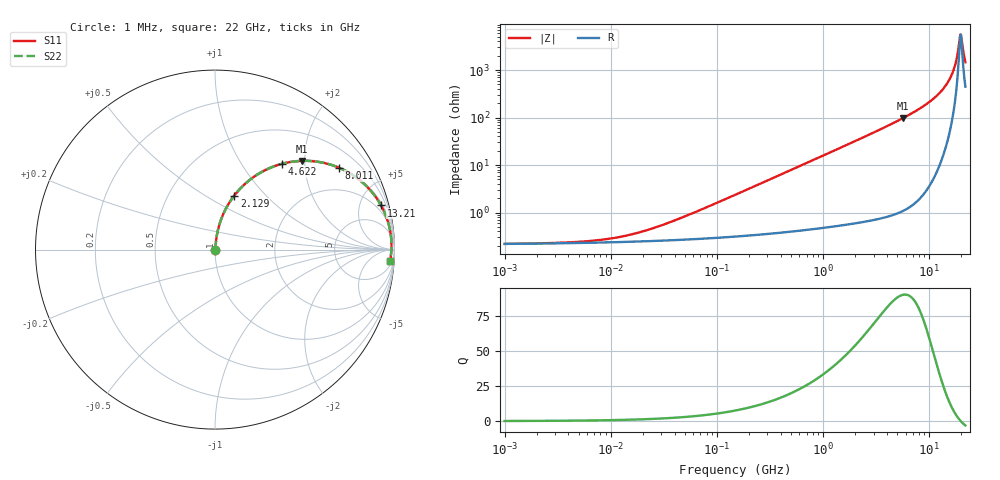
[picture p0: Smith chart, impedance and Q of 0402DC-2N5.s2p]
# MHz  S  MA  R  50
!Freq  MagS11  AngS11  MagS21  AngS21  MagS12  AngS12  MagS22  AngS22
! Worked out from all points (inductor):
!   801 points, 1 MHz to 22 GHz, reference 50 ohm
!   read as one part in series: L = 2.5 nH near 51.96 MHz
!   highest Q = 90.1 at 5.645 GHz (marker M1), where L = 2.72 nH
!   self-resonance near 19.71 GHz
!   S11 on the Smith chart (normalised r, x): 1 MHz: 1.00, +0.00; 2.129 GHz: 1.01, +0.68; 4.622 GHz: 1.02, +1.54; 8.011 GHz: 1.04, +3.01; 13.21 GHz: 1.27, +7.44; 22 GHz: 10, -28
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1  0.002184 4.1  0.9978 -0.0  0.9978 -0.0  0.002184 4.1
5.339889  0.002435 20.1  0.9977 -0.0  0.9977 -0.0  0.002435 20.1
12.65194  0.003105 39.6  0.9976 -0.1  0.9976 -0.1  0.003105 39.6
28.16016  0.005088 59.9  0.9975 -0.3  0.9975 -0.3  0.005088 59.9
148.504  0.02346 81.1  0.9966 -1.3  0.9966 -1.3  0.02346 81.1
384.0328  0.06013 83.0  0.9945 -3.4  0.9945 -3.4  0.06013 83.0
792.9948  0.1233 80.9  0.988 -7.1  0.988 -7.1  0.1233 80.9
2129.063  0.3188 70.4  0.9421 -18.6  0.9421 -18.6  0.3188 70.4
3021.414  0.4346 63.4  0.8944 -25.8  0.8944 -25.8  0.4346 63.4
4181.896  0.5633 55.0  0.8194 -34.3  0.8194 -34.3  0.5633 55.0
4621.766  0.6055 52.1  0.7888 -37.3  0.7888 -37.3  0.6055 52.1
5645.176  0.6905 45.7  0.7157 -43.7  0.7157 -43.7  0.6905 45.7
8011.229  0.8279 33.4  0.5507 -55.9  0.5507 -55.9  0.8279 33.4
10547.38  0.9114 23.2  0.3948 -65.7  0.3948 -65.7  0.9114 23.2
13209.09  0.9572 14.9  0.2572 -73.1  0.2572 -73.1  0.9572 14.9
15156.39  0.9743 9.8  0.1711 -76.5  0.1711 -76.5  0.9743 9.8
16750.61  0.9813 6.2  0.1084 -77.0  0.1084 -77.0  0.9813 6.2
17831.06  0.9834 3.9  0.06957 -74.2  0.06957 -74.2  0.9834 3.9
19220  0.9836 1.2  0.02636 -50.8  0.02636 -50.8  0.9836 1.2
19706.61  0.9831 0.3  0.01767 -16.3  0.01767 -16.3  0.9831 0.3
20459.74  0.9818 -1.1  0.02585 44.6  0.02585 44.6  0.9818 -1.1
22000  0.9775 -3.7  0.06705 68.5  0.06705 68.5  0.9775 -3.7
